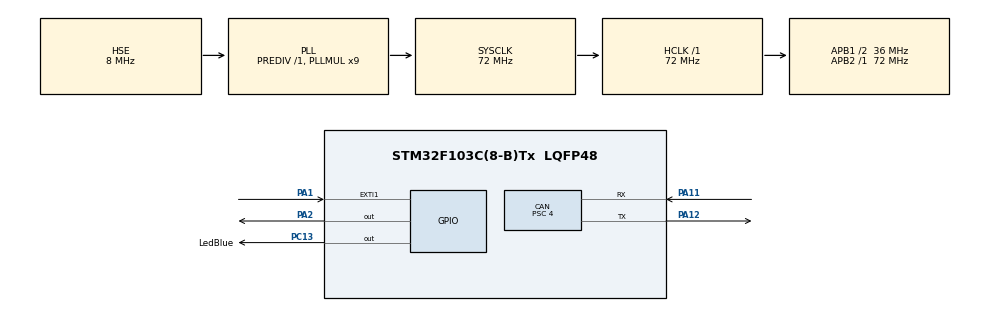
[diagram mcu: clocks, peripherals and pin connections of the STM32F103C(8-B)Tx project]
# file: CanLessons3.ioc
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CAN.BS1=CAN_BS1_15TQ
CAN.BS2=CAN_BS2_2TQ
CAN.CalculateBaudRate=500000
CAN.CalculateTimeBit=1999.99
CAN.CalculateTimeQuantum=111.11111111111111
CAN.Prescaler=4
Mcu.Family=STM32F1
Mcu.Name=STM32F103C(8-B)Tx
Mcu.Package=LQFP48
NVIC.EXTI1_IRQn=true\:1\:0\:true\:false\:true\:true\:true
NVIC.PriorityGroup=NVIC_PRIORITYGROUP_4
NVIC.USB_HP_CAN1_TX_IRQn=true\:2\:0\:true\:false\:true\:true\:true
NVIC.USB_LP_CAN1_RX0_IRQn=true\:2\:0\:true\:false\:true\:true\:true
PA1.GPIO_ModeDefaultEXTI=GPIO_MODE_IT_FALLING
PA1.GPIO_PuPd=GPIO_PULLUP
PA1.Signal=GPXTI1
PA11.Mode=CAN_Activate
PA11.Signal=CAN_RX
PA12.Mode=CAN_Activate
PA12.Signal=CAN_TX
PA13.Mode=Serial_Wire
PA13.Signal=SYS_JTMS-SWDIO
PA14.Mode=Serial_Wire
PA14.Signal=SYS_JTCK-SWCLK
PA2.Signal=GPIO_Output
PC13-TAMPER-RTC.GPIO_Label=LedBlue
PC13-TAMPER-RTC.Signal=GPIO_Output
PD0-OSC_IN.Mode=HSE-External-Oscillator
PD0-OSC_IN.Signal=RCC_OSC_IN
PD1-OSC_OUT.Mode=HSE-External-Oscillator
PD1-OSC_OUT.Signal=RCC_OSC_OUT
ProjectManager.HeapSize=0x200
ProjectManager.StackSize=0x400
ProjectManager.TargetToolchain=EWARM V8.32
RCC.AHBFreq_Value=72000000
RCC.APB1CLKDivider=RCC_HCLK_DIV2
RCC.APB1Freq_Value=36000000
RCC.APB1TimFreq_Value=72000000
RCC.APB2Freq_Value=72000000
RCC.APB2TimFreq_Value=72000000
RCC.HCLKFreq_Value=72000000
RCC.PLLMUL=RCC_PLL_MUL9
RCC.PLLSourceVirtual=RCC_PLLSOURCE_HSE
RCC.SYSCLKFreq_VALUE=72000000
RCC.SYSCLKSource=RCC_SYSCLKSOURCE_PLLCLK
RCC.USBFreq_Value=72000000
board=custom

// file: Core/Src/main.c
/* USER CODE BEGIN Header */
/**
  ******************************************************************************
  * @file           : main.c
  * @brief          : Main program body
  ******************************************************************************
  * @attention
  *
  * <h2><center>&copy; Copyright (c) 2021 STMicroelectronics.
  * All rights reserved.</center></h2>
  *
  * This software component is licensed by ST under BSD 3-Clause license,
  * the "License"; You may not use this file except in compliance with the
  * License. You may obtain a copy of the License at:
  *                        opensource.org/licenses/BSD-3-Clause
  *
  ******************************************************************************
  */
/* USER CODE END Header */
#include "main.h"

CAN_HandleTypeDef hcan;

/* USER CODE BEGIN PV */
CAN_TxHeaderTypeDef pTxHeader;
CAN_RxHeaderTypeDef pRxHeader;
uint32_t  TxMailbox;
uint8_t i=0,r;
uint8_t TX_data[8],RX_data[8];
CAN_FilterTypeDef sFilterConfig;
/* USER CODE END PV */

void SystemClock_Config(void);
static void MX_GPIO_Init(void);
static void MX_CAN_Init(void);

int main(void)
{

  /* MCU Configuration--------------------------------------------------------*/

  /* Reset of all peripherals, Initializes the Flash interface and the Systick. */
  HAL_Init();

  /* Configure the system clock */
  SystemClock_Config();

  /* Initialize all configured peripherals */
  MX_GPIO_Init();
  MX_CAN_Init();
  /* USER CODE BEGIN 2 */
 //HAL_GPIO_WritePin(GPIOA, GPIO_PIN_2, GPIO_PIN_SET);
  /* USER CODE END 2 */

  /* Infinite loop */
  /* USER CODE BEGIN WHILE */
  while (1)
  {
        r=RX_data[0];
      if(r){
        HAL_GPIO_TogglePin (LedBlue_GPIO_Port, LedBlue_Pin);
        HAL_Delay(500);}
      else{
        HAL_GPIO_WritePin(LedBlue_GPIO_Port, LedBlue_Pin, GPIO_PIN_SET);
      }
    /* USER CODE END WHILE */

  }
}

void SystemClock_Config(void)
{
  RCC_OscInitTypeDef RCC_OscInitStruct = {0};
  RCC_ClkInitTypeDef RCC_ClkInitStruct = {0};

  /** Initializes the RCC Oscillators according to the specified parameters
  * in the RCC_OscInitTypeDef structure.
  */
  RCC_OscInitStruct.OscillatorType = RCC_OSCILLATORTYPE_HSE;
  RCC_OscInitStruct.HSEState = RCC_HSE_ON;
  RCC_OscInitStruct.HSEPredivValue = RCC_HSE_PREDIV_DIV1;
  RCC_OscInitStruct.HSIState = RCC_HSI_ON;
  RCC_OscInitStruct.PLL.PLLState = RCC_PLL_ON;
  RCC_OscInitStruct.PLL.PLLSource = RCC_PLLSOURCE_HSE;
  RCC_OscInitStruct.PLL.PLLMUL = RCC_PLL_MUL9;
  if (HAL_RCC_OscConfig(&RCC_OscInitStruct) != HAL_OK)
  {
    Error_Handler();
  }
  /** Initializes the CPU, AHB and APB buses clocks
  */
  RCC_ClkInitStruct.ClockType = RCC_CLOCKTYPE_HCLK|RCC_CLOCKTYPE_SYSCLK
                              |RCC_CLOCKTYPE_PCLK1|RCC_CLOCKTYPE_PCLK2;
  RCC_ClkInitStruct.SYSCLKSource = RCC_SYSCLKSOURCE_PLLCLK;
  RCC_ClkInitStruct.AHBCLKDivider = RCC_SYSCLK_DIV1;
  RCC_ClkInitStruct.APB1CLKDivider = RCC_HCLK_DIV2;
  RCC_ClkInitStruct.APB2CLKDivider = RCC_HCLK_DIV1;

  if (HAL_RCC_ClockConfig(&RCC_ClkInitStruct, FLASH_LATENCY_2) != HAL_OK)
  {
    Error_Handler();
  }
}

static void MX_CAN_Init(void)
{

  hcan.Instance = CAN1;
  hcan.Init.Prescaler = 4;
  hcan.Init.Mode = CAN_MODE_NORMAL;
  hcan.Init.SyncJumpWidth = CAN_SJW_1TQ;
  hcan.Init.TimeSeg1 = CAN_BS1_15TQ;
  hcan.Init.TimeSeg2 = CAN_BS2_2TQ;
  hcan.Init.TimeTriggeredMode = DISABLE;
  hcan.Init.AutoBusOff = DISABLE;
  hcan.Init.AutoWakeUp = DISABLE;
  hcan.Init.AutoRetransmission = DISABLE;
  hcan.Init.ReceiveFifoLocked = DISABLE;
  hcan.Init.TransmitFifoPriority = DISABLE;
  if (HAL_CAN_Init(&hcan) != HAL_OK)
  {
    Error_Handler();
  }
  /* USER CODE BEGIN CAN_Init 2 */
//
  pTxHeader.DLC = 4;
  pTxHeader.IDE = CAN_ID_STD;
  pTxHeader.RTR = CAN_RTR_DATA;
  pTxHeader.StdId = 0x0002;
  pTxHeader.TransmitGlobalTime = DISABLE;
//
  sFilterConfig.FilterBank = 0;
  sFilterConfig.FilterMode = CAN_FILTERMODE_IDLIST;
  sFilterConfig.FilterFIFOAssignment = CAN_RX_FIFO0;
  sFilterConfig.SlaveStartFilterBank = 0;
  sFilterConfig.FilterIdHigh = 0x00fe<<5;
  sFilterConfig.FilterIdLow = 0x0002<<5;
  sFilterConfig.FilterMaskIdHigh = 0x0003<<5;
  sFilterConfig.FilterMaskIdLow = 0x0004<<5;
  sFilterConfig.FilterScale = CAN_FILTERSCALE_16BIT;
  sFilterConfig.FilterActivation = ENABLE;

 if (HAL_CAN_ConfigFilter(&hcan, &sFilterConfig)!= HAL_OK)
  {
    // Filter configuration Error
    Error_Handler();
  }

  if(HAL_CAN_Start(&hcan)!= HAL_OK)
   {
    //Start Error
    Error_Handler();
  }
  /* Activate CAN RX notification */
  if (HAL_CAN_ActivateNotification(&hcan, CAN_IT_RX_FIFO0_MSG_PENDING | CAN_IT_TX_MAILBOX_EMPTY) != HAL_OK)
  {
    /* Notification Error */
    Error_Handler();
  }
  /* USER CODE END CAN_Init 2 */

}

static void MX_GPIO_Init(void)
{
  GPIO_InitTypeDef GPIO_InitStruct = {0};

  /* GPIO Ports Clock Enable */
  __HAL_RCC_GPIOC_CLK_ENABLE();
  __HAL_RCC_GPIOD_CLK_ENABLE();
  __HAL_RCC_GPIOA_CLK_ENABLE();

  /*Configure GPIO pin Output Level */
  HAL_GPIO_WritePin(LedBlue_GPIO_Port, LedBlue_Pin, GPIO_PIN_RESET);

  /*Configure GPIO pin Output Level */
  HAL_GPIO_WritePin(GPIOA, GPIO_PIN_2, GPIO_PIN_RESET);

  /*Configure GPIO pin : LedBlue_Pin */
  GPIO_InitStruct.Pin = LedBlue_Pin;
  GPIO_InitStruct.Mode = GPIO_MODE_OUTPUT_PP;
  GPIO_InitStruct.Pull = GPIO_NOPULL;
  GPIO_InitStruct.Speed = GPIO_SPEED_FREQ_LOW;
  HAL_GPIO_Init(LedBlue_GPIO_Port, &GPIO_InitStruct);

  /*Configure GPIO pin : PA1 */
  GPIO_InitStruct.Pin = GPIO_PIN_1;
  GPIO_InitStruct.Mode = GPIO_MODE_IT_FALLING;
  GPIO_InitStruct.Pull = GPIO_PULLUP;
  HAL_GPIO_Init(GPIOA, &GPIO_InitStruct);

  /*Configure GPIO pin : PA2 */
  GPIO_InitStruct.Pin = GPIO_PIN_2;
  GPIO_InitStruct.Mode = GPIO_MODE_OUTPUT_PP;
  GPIO_InitStruct.Pull = GPIO_NOPULL;
  GPIO_InitStruct.Speed = GPIO_SPEED_FREQ_LOW;
  HAL_GPIO_Init(GPIOA, &GPIO_InitStruct);

  /* EXTI interrupt init*/
  HAL_NVIC_SetPriority(EXTI1_IRQn, 1, 0);
  HAL_NVIC_EnableIRQ(EXTI1_IRQn);

}

/* USER CODE BEGIN 4 */
void HAL_CAN_RxFifo0MsgPendingCallback(CAN_HandleTypeDef *hcan)
{
  /* Get RX message */
  if (HAL_CAN_GetRxMessage(hcan, CAN_RX_FIFO0, &pRxHeader, RX_data) != HAL_OK)
  {
    /* Reception Error */
    Error_Handler();
  }
}
void HAL_CAN_TxMailbox0CompleteCallback(CAN_HandleTypeDef*hcan)
{
HAL_GPIO_TogglePin(GPIOA, GPIO_PIN_2);
}
/* USER CODE END 4 */

void Error_Handler(void)
{
  __disable_irq();
  while (1)
  {
  }
}

/************************ (C) COPYRIGHT STMicroelectronics *****END OF FILE****/
